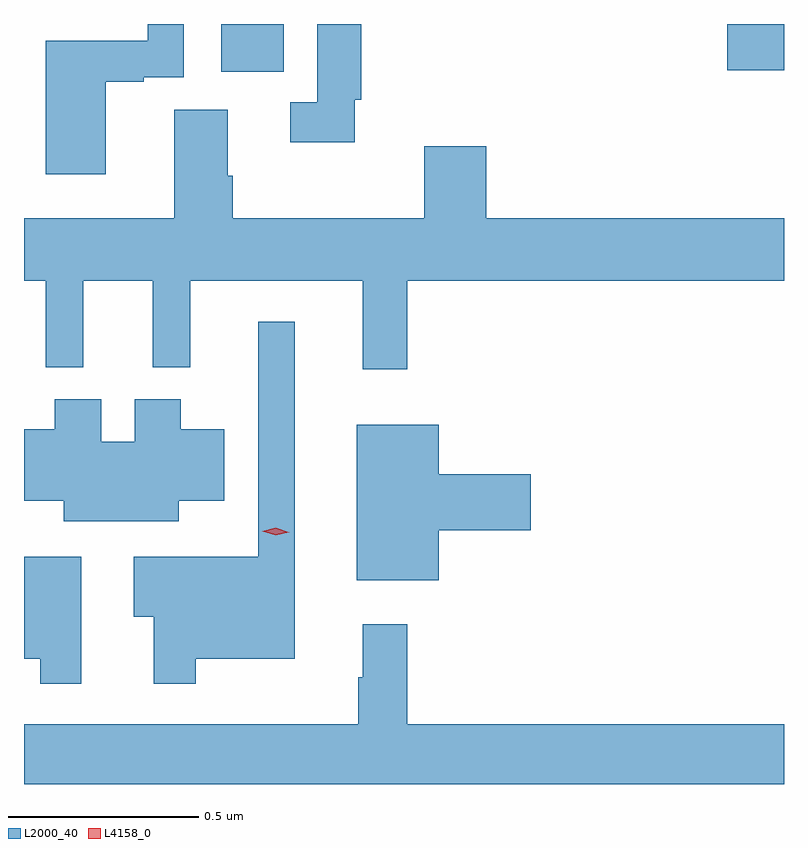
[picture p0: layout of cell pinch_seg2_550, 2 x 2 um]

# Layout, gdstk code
import gdstk
lib = gdstk.Library(unit=1e-6, precision=1e-09)
def R(c, l, rs):  # rectangles x0, y0, x1, y1
    for r in rs: c.add(gdstk.rectangle(r[:2], r[2:], *l))
def P(c, l, *ps):  # polygons
    for p in ps: c.add(gdstk.Polygon(p, *l))
L2000_40 = (2000, 40)
L4158_0 = (4158, 0)

pinch_seg2_550 = lib.new_cell('pinch_seg2_550')
R(pinch_seg2_550, L2000_40, [(1135.502,612.222,1135.666,612.347), (1136.834,612.225,1136.983,612.347)])
P(pinch_seg2_550, L2000_40, [(1135.198,612.195),(1135.298,612.195),(1135.298,612.207),(1135.404,612.207),(1135.404,612.347),(1135.309,612.347),(1135.309,612.303),(1135.04,612.303),(1135.04,611.952),(1135.198,611.952)],
  [(1135.853,612.148),(1135.871,612.148),(1135.871,612.347),(1135.755,612.347),(1135.755,612.141),(1135.683,612.141),(1135.683,612.036),(1135.853,612.036)],
  [(1135.991,611.672),(1136.983,611.672),(1136.983,611.836),(1136.2,611.836),(1136.2,612.025),(1136.036,612.025),(1136.036,611.836),(1135.532,611.836),(1135.532,611.948),(1135.519,611.948),(1135.519,612.122),(1135.379,612.122),(1135.379,611.836),(1134.983,611.836),(1134.983,611.672),(1135.04,611.672),(1135.04,611.444),(1135.139,611.444),(1135.139,611.672),(1135.322,611.672),(1135.322,611.444),(1135.421,611.444),(1135.421,611.672),(1135.874,611.672),(1135.874,611.439),(1135.991,611.439)],
  [(1135.435,610.676),(1135.696,610.676),(1135.696,611.563),(1135.599,611.563),(1135.599,610.945),(1135.272,610.945),(1135.272,610.787),(1135.325,610.787),(1135.325,610.611),(1135.435,610.611)],
  [(1135.39,611.093),(1135.51,611.093),(1135.51,611.281),(1135.396,611.281),(1135.396,611.359),(1135.274,611.359),(1135.274,611.248),(1135.186,611.248),(1135.186,611.359),(1135.064,611.359),(1135.064,611.281),(1134.983,611.281),(1134.983,611.093),(1135.088,611.093),(1135.088,611.039),(1135.39,611.039)],
  [(1136.074,611.015),(1136.317,611.015),(1136.317,611.162),(1136.074,611.162),(1136.074,611.293),(1135.859,611.293),(1135.859,610.883),(1136.074,610.883)],
  [(1135.134,610.945),(1134.983,610.945),(1134.983,610.676),(1135.026,610.676),(1135.026,610.611),(1135.134,610.611)],
  [(1136.983,610.504),(1135.991,610.504),(1135.991,610.768),(1135.874,610.768),(1135.874,610.628),(1135.863,610.628),(1135.863,610.504),(1134.983,610.504),(1134.983,610.347),(1136.983,610.347)])
P(pinch_seg2_550, L4158_0, [(1135.645,611.001),(1135.61,611.012),(1135.609,611.012),(1135.61,611.012),(1135.645,611.021),(1135.68,611.009),(1135.681,611.009),(1135.68,611.009)])

lib.write_gds('pinch_seg2_550.gds')
